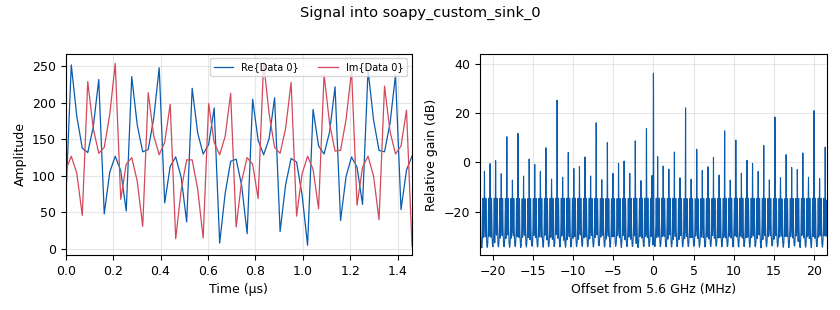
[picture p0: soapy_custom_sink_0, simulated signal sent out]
options:
  parameters:
    generate_options: qt_gui
    id: test_complex
    output_language: python
    title: open.space testing
  states: {}

blocks:
- name: freq
  id: variable
  parameters:
    value: 5.6e9
  states: {}
- name: samp_rate
  id: variable
  parameters:
    value: '43130880'
  states: {}
- name: analog_sig_source_x_0
  id: analog_sig_source_x
  parameters:
    amp: '1.0'
    freq: 4e6
    offset: '0'
    phase: '0'
    samp_rate: samp_rate
    type: complex
    waveform: analog.GR_SIN_WAVE
  states: {}
- name: blocks_complex_to_interleaved_char_1
  id: blocks_complex_to_interleaved_char
  parameters:
    scale_factor: '127'
    vector_output: 'False'
  states: {}
- name: blocks_stream_to_vector_0
  id: blocks_stream_to_vector
  parameters:
    type: byte
  states: {}
- name: soapy_custom_sink_0
  id: soapy_custom_sink
  parameters:
    antenna0: RX
    center_freq0: freq
    driver: mipi
    samp_rate: samp_rate
    type: sc8
  states: {}

connections:
- [analog_sig_source_x_0, '0', blocks_complex_to_interleaved_char_1, '0']
- [blocks_complex_to_interleaved_char_1, '0', blocks_stream_to_vector_0, '0']
- [blocks_stream_to_vector_0, '0', soapy_custom_sink_0, '0']

metadata:
  file_format: 1
  grc_version: 3.10.12.0
